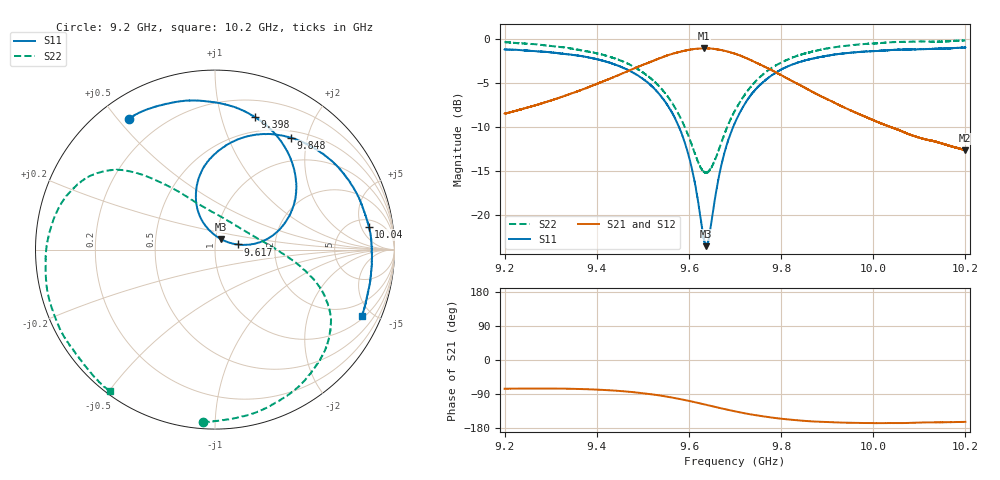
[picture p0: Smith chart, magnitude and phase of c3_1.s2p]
!Agilent Technologies,N5242A,MY51221714,A.09.90.19
!Agilent N5242A: A.09.90.19
!Date: Saturday, December 30, 2023 10:23:05
!Correction: S11(Full 2 Port(1,2))
!S21(Full 2 Port(1,2))
!S12(Full 2 Port(1,2))
!S22(Full 2 Port(1,2))
!S2P File: Measurements: S11, S21, S12, S22:
# Hz S  dB  R 50
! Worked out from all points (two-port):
!   16001 points, 9.2 GHz to 10.2 GHz, reference 50 ohm
!   highest |S21| = -1.04 dB at 9.633 GHz (marker M1); lowest = -12.6 dB at 10.2 GHz (marker M2)
!   |S21| within 3 dB of the highest: 9.449 GHz to 9.798 GHz (349.4 MHz wide, 3.63 % of centre); 9.798384 GHz to 9.798503 GHz (118.9 kHz wide, 0.00121 % of centre)
!   lowest |S11| = -23.5 dB at 9.638 GHz (marker M3), VSWR 1.14, Z = 53 + j6.23 ohm
!   |S11| at or under -10 dB: 9.579 GHz to 9.696 GHz (117 MHz wide, 1.21 % of centre)
!   |S22| runs from -15.2 to -0.1 dB; largest |S21 - S12| = 0.013
!   S11 on the Smith chart (normalised r, x): 9.2 GHz: 0.09, +0.54; 9.398 GHz: 0.35, +1.28; 9.617 GHz: 1.29, +0.08; 9.848 GHz: 0.60, +1.73; 10.04 GHz: 6.84, +6.93; 10.2 GHz: 1.14, -4.35
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9.2e9  -1.17 123.3  -8.45 -75.9  -8.45 -76.7  -0.34 -94.0
9.275188e9  -1.39 105.7  -7.38 -75.3  -7.35 -75.9  -0.62 -73.9
9.366688e9  -1.93 82.3  -5.76 -76.6  -5.74 -77.4  -1.26 -50.7
9.398125e9  -2.24 73.4  -5.12 -78.1  -5.10 -78.8  -1.59 -43.2
9.473e9  -3.64 50.1  -3.49 -84.1  -3.49 -84.9  -2.91 -27.2
9.533375e9  -6.11 28.6  -2.23 -93.0  -2.22 -93.6  -5.24 -15.2
9.583125e9  -10.55 11.5  -1.39 -103.7  -1.38 -104.4  -9.09 -0.9
9.617438e9  -17.58 12.6  -1.09 -112.7  -1.07 -113.4  -13.59 25.8
9.6335e9  -22.90 44.2  -1.04 -117.2  -1.04 -117.9  -15.09 52.5
9.637625e9  -23.49 61.0  -1.04 -118.3  -1.04 -119.0  -15.14 60.4
9.643812e9  -22.45 85.0  -1.07 -120.0  -1.05 -120.8  -14.95 72.0
9.672062e9  -13.92 114.6  -1.26 -128.0  -1.25 -128.7  -11.50 109.2
9.7e9  -9.48 108.3  -1.65 -135.4  -1.62 -136.2  -8.10 123.0
9.776062e9  -4.25 80.0  -3.42 -151.2  -3.42 -152.1  -3.39 139.3
9.848438e9  -2.46 55.9  -5.41 -160.4  -5.42 -161.1  -1.68 151.4
9.866688e9  -2.22 50.4  -5.93 -162.0  -5.93 -162.7  -1.43 154.8
9.942938e9  -1.58 29.7  -7.89 -165.5  -7.90 -166.3  -0.74 170.7
1.003338e10  -1.25 8.9  -9.90 -166.4  -9.87 -167.2  -0.37 -168.5
1.003575e10  -1.25 8.4  -9.94 -166.4  -9.92 -167.2  -0.36 -167.9
1.0107e10  -1.13 -6.2  -11.27 -164.8  -11.28 -165.6  -0.26 -150.5
1.019981e10  -0.94 -24.4  -12.60 -163.3  -12.59 -164.2  -0.17 -126.6
1.02e10  -0.94 -24.3  -12.59 -163.2  -12.59 -164.1  -0.15 -126.5
